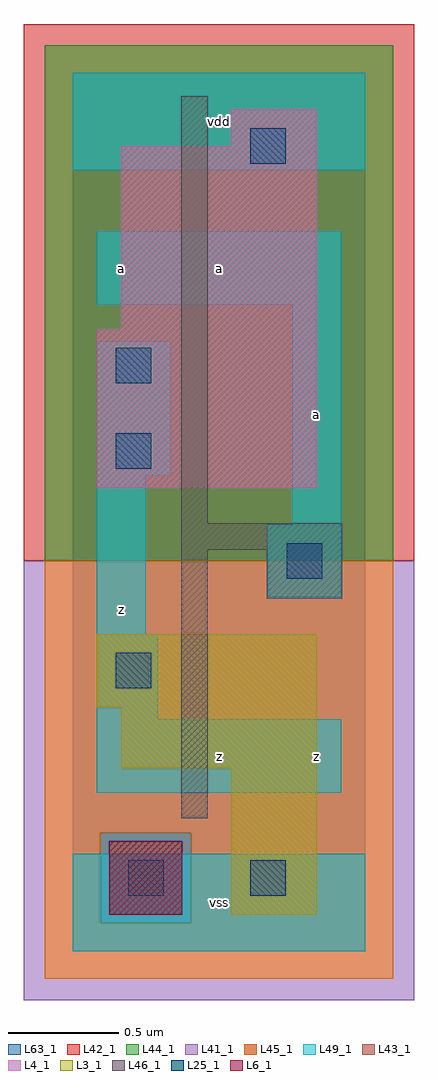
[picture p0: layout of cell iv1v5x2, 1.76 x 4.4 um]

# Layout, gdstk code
import gdstk
lib = gdstk.Library(unit=1e-6, precision=1e-09)
def R(c, l, rs):  # rectangles x0, y0, x1, y1
    for r in rs: c.add(gdstk.rectangle(r[:2], r[2:], *l))
L3_1 = (3, 1)
L4_1 = (4, 1)
L6_1 = (6, 1)
L25_1 = (25, 1)
L41_1 = (41, 1)
L42_1 = (42, 1)
L43_1 = (43, 1)
L44_1 = (44, 1)
L45_1 = (45, 1)
L46_1 = (46, 1)
L49_1 = (49, 1)
L63_1 = (63, 1)

iv1v5x2 = lib.new_cell('iv1v5x2')
R(iv1v5x2, L3_1, [(0.715,0.165,1.1,0.825), (0.22,0.825,1.1,1.1), (0.11,1.1,1.1,1.43)])
R(iv1v5x2, L4_1, [(0.11,2.09,1.1,2.805), (0.22,2.805,1.1,3.63), (0.715,3.63,1.1,3.795)])
R(iv1v5x2, L6_1, [(0.165,0.165,0.495,0.495)])
R(iv1v5x2, L25_1, [(0.25,0.25,0.41,0.41), (0.8,0.25,0.96,0.41), (0.195,1.185,0.355,1.345), (0.965,1.68,1.125,1.84), (0.195,2.175,0.355,2.335), (0.195,2.56,0.355,2.72), (0.8,3.55,0.96,3.71)])
R(iv1v5x2, L41_1, [(-0.22,-0.22,1.54,1.76)])
R(iv1v5x2, L42_1, [(-0.22,1.76,1.54,4.18)])
R(iv1v5x2, L43_1, [(0.165,0.165,0.495,0.495), (0.715,0.165,1.1,0.825), (0.22,0.825,1.1,1.1), (0.11,1.1,1.1,1.43), (0.11,2.09,1.1,2.805), (0.22,2.805,1.1,3.63), (0.715,3.63,1.1,3.795)])
R(iv1v5x2, L44_1, [(0.125,0.125,0.535,0.535), (-0.125,1.76,1.445,4.085)])
R(iv1v5x2, L45_1, [(-0.125,-0.125,1.445,0.125), (-0.125,0.125,0.125,0.535), (0.535,0.125,1.445,0.535), (-0.125,0.535,1.445,1.76)])
R(iv1v5x2, L46_1, [(0.49,0.6,0.61,1.81), (0.875,1.59,1.215,1.81), (0.49,1.81,1.215,1.93), (0.49,1.93,0.61,3.855)])
R(iv1v5x2, L49_1, [(0,0,1.32,0.44), (0.11,0.715,1.21,1.045), (0.11,1.045,0.385,1.43), (0.11,1.43,0.33,2.145), (0.88,1.595,1.21,1.925), (0.99,1.925,1.21,2.915), (0.11,2.145,0.44,2.75), (0.11,2.915,1.21,3.245), (0,3.52,1.32,3.96)])
R(iv1v5x2, L63_1, [(0,0,1.32,3.96)])
iv1v5x2.add(gdstk.Label('z', (0.22,1.54), layer=49, texttype=1))
iv1v5x2.add(gdstk.Label('a', (0.22,3.08), layer=49, texttype=1))
iv1v5x2.add(gdstk.Label('vss', (0.66,0.22), layer=49, texttype=1))
iv1v5x2.add(gdstk.Label('z', (0.66,0.88), layer=49, texttype=1))
iv1v5x2.add(gdstk.Label('a', (0.66,3.08), layer=49, texttype=1))
iv1v5x2.add(gdstk.Label('vdd', (0.66,3.74), layer=49, texttype=1))
iv1v5x2.add(gdstk.Label('z', (1.1,0.88), layer=49, texttype=1))
iv1v5x2.add(gdstk.Label('a', (1.1,2.42), layer=49, texttype=1))

lib.write_gds('iv1v5x2.gds')
